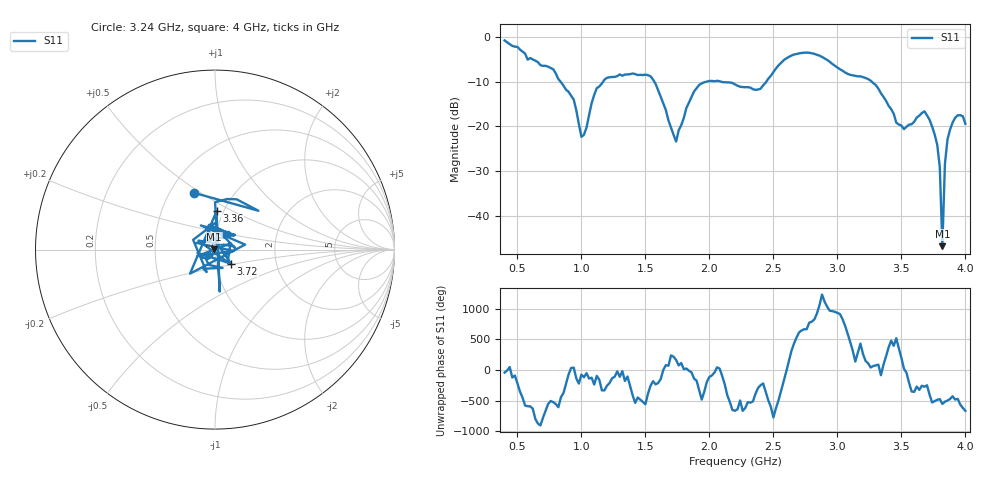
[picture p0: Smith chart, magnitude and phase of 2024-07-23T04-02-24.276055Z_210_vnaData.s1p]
!Created with skrf (http://scikit-rf.org).
# Hz S RI R 50.0
!freq ReS11 ImS11
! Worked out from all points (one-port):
!   181 points, 400 MHz to 4 GHz, reference 50 ohm
!   lowest |S11| = -46.8 dB at 3.82 GHz (marker M1), VSWR 1.01, Z = 49.6 + j0.0958 ohm
!   |S11| at or under -10 dB: 1.569 GHz to 1.976 GHz (406.8 MHz wide, 22.9 % of centre); 2.091 GHz to 2.444 GHz (353 MHz wide, 15.6 % of centre); 3.268 GHz to end of sweep (the widest 3 of 4)
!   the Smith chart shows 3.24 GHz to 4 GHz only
!   S11 on the Smith chart (normalised r, x): 3.24 GHz: 0.65, +0.47; 3.36 GHz: 0.93, +0.42; 3.72 GHz: 1.18, -0.19; 4 GHz: 1.11, +0.20
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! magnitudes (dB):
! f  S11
! 400 MHz  -0.8
! 780 MHz  -7.2
! 860 MHz  -10.9
! 940 MHz  -14.0
! 1 GHz  -22.3
! 1.12 GHz  -11.5
! 1.3 GHz  -8.4
! 1.54 GHz  -8.8
! 1.74 GHz  -23.4
! 1.76 GHz  -20.9
! 1.92 GHz  -10.7
! 2.2 GHz  -10.6
! 2.4 GHz  -11.6
! 2.66 GHz  -3.9
! 3.1 GHz  -8.5
! 3.24 GHz  -9.4
! 3.36 GHz  -13.4
! 3.46 GHz  -19.2
! 3.56 GHz  -19.6
! 3.68 GHz  -16.6
! 3.72 GHz  -18.5
! 3.78 GHz  -24.1
! 3.8 GHz  -29.1
! 3.82 GHz  -46.8
! 3.84 GHz  -28.5
! 3.86 GHz  -22.9
! 3.94 GHz  -17.5
! 4 GHz  -19.4
